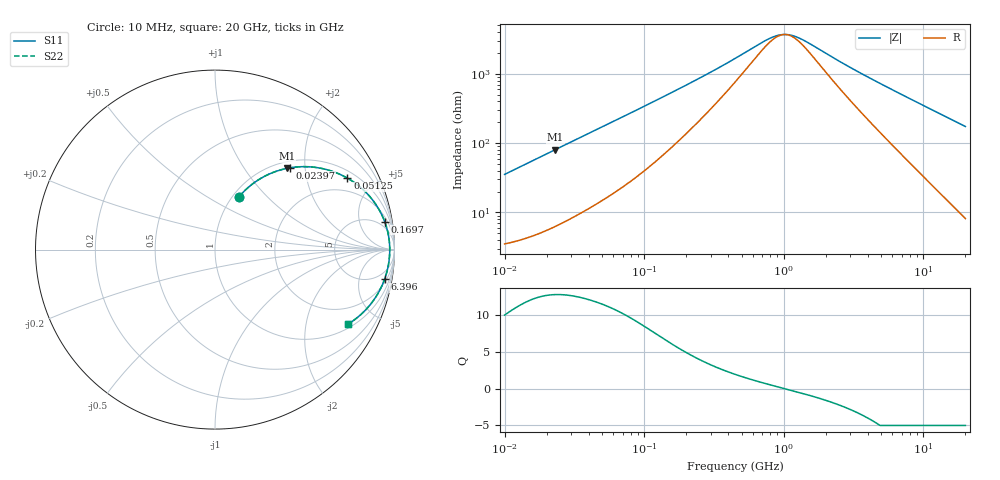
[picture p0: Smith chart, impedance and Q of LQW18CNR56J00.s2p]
!Murata Part Number: LQW18CNR56J00
!These Parameters are Measured in Series Mode Connection
!  o--[Z]--o
!Port1  Port2
!  o-------o
!Freq. Start=10[MHz] Stop=20[GHz], 401[Steps]
# Hz S RI R 50
!Freq.(Hz) S11(Real) S11(Imag) S21(Real) S21(Imag) S12(Real) S12(Imag) S22(Real) S22(Imag)
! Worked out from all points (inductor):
!   401 points, 10 MHz to 20 GHz, reference 50 ohm
!   read as one part in series: L = 560 nH near 10.39 MHz
!   highest Q = 12.8 at 23.07 MHz (marker M1), where L = 555 nH
!   self-resonance near 1.016 GHz
!   S11 on the Smith chart (normalised r, x): 10 MHz: 1.07, +0.71; 23.97 MHz: 1.13, +1.67; 51.25 MHz: 1.31, +3.50; 169.7 MHz: 3, +11; 6.396 GHz: 3, -11; 20 GHz: 1.16, -3.48
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1e7  0.1344 0.2948  0.8656 -0.2948  0.8656 -0.2948  0.1344 0.2948
1.490404e7  0.2345 0.3839  0.7655 -0.3839  0.7655 -0.3839  0.2345 0.3839
2.307349e7  0.4019 0.4528  0.5981 -0.4528  0.5981 -0.4528  0.4019 0.4528
2.396726e7  0.4186 0.4558  0.5814 -0.4558  0.5814 -0.4558  0.4186 0.4558
3.572091e7  0.5969 0.4517  0.4031 -0.4517  0.4031 -0.4517  0.5969 0.4517
5.125325e7  0.7378 0.3982  0.2622 -0.3982  0.2622 -0.3982  0.7378 0.3982
7.934703e7  0.8558 0.3033  0.1442 -0.3033  0.1442 -0.3033  0.8558 0.3033
1.275983e8  0.9242 0.2042  0.0758 -0.2042  0.0758 -0.2042  0.9242 0.2042
1.696812e8  0.9455 0.1557  0.0545 -0.1557  0.0545 -0.1557  0.9455 0.1557
2.67729e8  0.963 0.0965  0.037 -0.0965  0.037 -0.0965  0.963 0.0965
4.472136e8  0.9707 0.0505  0.0293 -0.0505  0.0293 -0.0505  0.9707 0.0505
7.470239e8  0.9733 0.0173  0.0267 -0.0173  0.0267 -0.0173  0.9733 0.0173
9.383512e8  0.9736 0.00439  0.0264 -0.00439  0.0264 -0.00439  0.9736 0.00439
1.051673e9  0.9737 -0.00193  0.0263 0.00193  0.0263 0.00193  0.9737 -0.00193
1.178681e9  0.9736 -0.00828  0.0264 0.00828  0.0264 0.00828  0.9736 -0.00828
1.597488e9  0.973 -0.026  0.027 0.026  0.027 0.026  0.973 -0.026
2.934404e9  0.9687 -0.0701  0.0313 0.0701  0.0313 0.0701  0.9687 -0.0701
5.706372e9  0.951 -0.1472  0.049 0.1472  0.049 0.1472  0.951 -0.1472
6.395515e9  0.9449 -0.1651  0.0551 0.1651  0.0551 0.1651  0.9449 -0.1651
1.174784e10  0.8798 -0.2875  0.1202 0.2875  0.1202 0.2875  0.8798 -0.2875
1.503978e10  0.828 -0.3474  0.172 0.3474  0.172 0.3474  0.828 -0.3474
2e10  0.7419 -0.4147  0.2581 0.4147  0.2581 0.4147  0.7419 -0.4147
